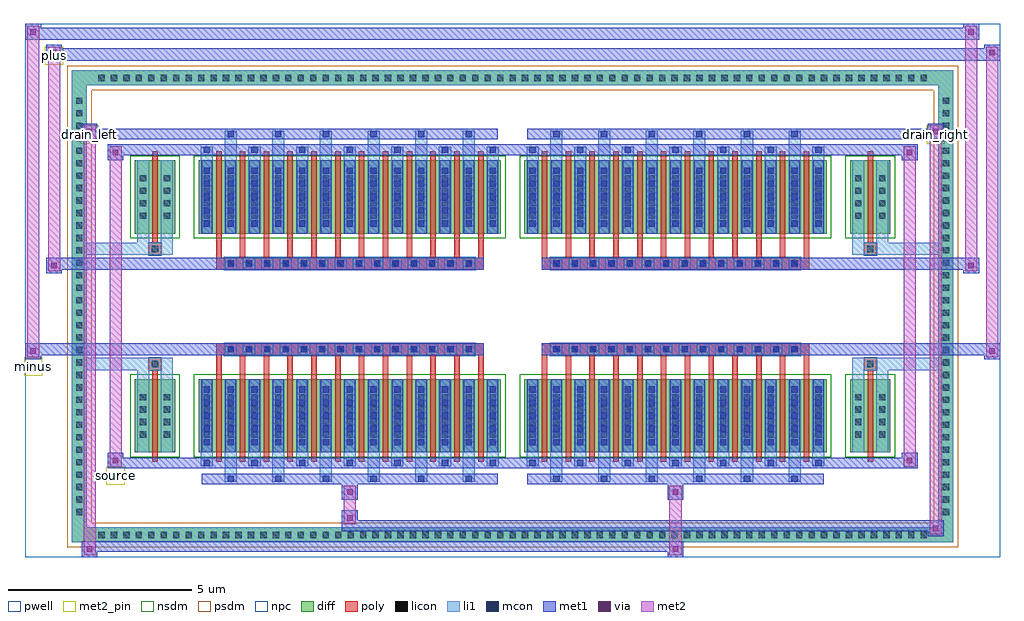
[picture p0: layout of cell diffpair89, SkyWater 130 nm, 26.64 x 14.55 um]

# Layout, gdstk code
import gdstk
lib = gdstk.Library(unit=1e-6, precision=5e-09)
def R(c, l, rs):  # rectangles x0, y0, x1, y1
    for r in rs: c.add(gdstk.rectangle(r[:2], r[2:], *l))
def A(c, l, x, y, w, h, nx, ny, dx, dy):  # array of equal rectangles
    R(c, l, [(x+i*dx, y+j*dy, x+i*dx+w, y+j*dy+h) for i in range(nx) for j in range(ny)])
def P(c, l, *ps):  # polygons
    for p in ps: c.add(gdstk.Polygon(p, *l))
pwell = (64, 44)
diff = (65, 20)
poly = (66, 20)
licon = (66, 44)
li1 = (67, 20)
mcon = (67, 44)
met1 = (68, 20)
via = (68, 44)
met2_pin = (69, 16)
met2 = (69, 20)
nsdm = (93, 44)
psdm = (94, 20)
npc = (95, 20)

diffpair89 = lib.new_cell('diffpair89')
R(diffpair89, pwell, [(-13.3,-6.84,13.3,7.71), (-10.62,-5.03,-0.01,-0.805), (0.01,-5.03,10.62,-0.805), (-10.62,0.805,-0.01,5.03), (0.01,0.805,10.62,5.03)])
A(diffpair89, diff, -11.425, -6.44, 0.41, 0.41, 67, 2, 0.34, 12.47)
A(diffpair89, diff, -12.03, -5.815, 0.41, 0.41, 1, 34, 0, 0.34)
A(diffpair89, diff, 11.62, -5.815, 0.41, 0.41, 1, 34, 0, 0.34)
R(diffpair89, diff, [(-11.425,-6.44,11.425,-6.03), (-12.03,-5.815,-11.62,5.815), (11.62,-5.815,12.03,5.815), (-10.31,-3.985,-9.21,-1.985), (-8.57,-3.985,-0.32,-1.985), (0.32,-3.985,8.57,-1.985), (9.21,-3.985,10.31,-1.985), (-10.31,1.985,-9.21,3.985), (-8.57,1.985,-0.32,3.985), (0.32,1.985,8.57,3.985), (9.21,1.985,10.31,3.985), (-11.425,6.03,11.425,6.44)])
P(diffpair89, diff, [(12.03,6.44),(-12.03,6.44),(-12.03,-6.03),(-11.62,-6.03),(-11.62,6.03),(11.62,6.03),(11.62,-6.03),(-11.62,-6.03),(-12.03,-6.03),(-12.03,-6.44),(12.03,-6.44)])
A(diffpair89, poly, -8.095, -4.235, 0.15, 2.5, 12, 2, 0.65, 5.97)
A(diffpair89, poly, 0.795, -4.235, 0.15, 2.5, 12, 2, 0.65, 5.97)
A(diffpair89, poly, -8.095, -1.735, 0.15, 0.4, 12, 2, 0.65, 3.07)
A(diffpair89, poly, 0.795, -1.735, 0.15, 0.4, 12, 2, 0.65, 3.07)
A(diffpair89, poly, -7.86, -1.335, 0.33, 0.33, 14, 2, 0.5, 2.34)
A(diffpair89, poly, 1.03, -1.335, 0.33, 0.33, 14, 2, 0.5, 2.34)
R(diffpair89, poly, [(-9.835,-4.235,-9.685,-1.735), (9.685,-4.235,9.835,-1.735), (-9.925,-1.735,-9.595,-1.405), (-9.925,-1.735,-9.595,-1.405), (9.595,-1.735,9.925,-1.405), (9.595,-1.735,9.925,-1.405), (-8.095,-1.335,-0.795,-1.005), (0.795,-1.335,8.095,-1.005), (-8.095,1.005,-0.795,1.335), (0.795,1.005,8.095,1.335), (-9.925,1.405,-9.595,1.735), (-9.925,1.405,-9.595,1.735), (9.595,1.405,9.925,1.735), (9.595,1.405,9.925,1.735), (-9.835,1.735,-9.685,4.235), (9.685,1.735,9.835,4.235)])
A(diffpair89, licon, -11.305, -6.32, 0.17, 0.17, 67, 2, 0.34, 12.47)
A(diffpair89, licon, -11.91, -5.695, 0.17, 0.17, 1, 34, 0, 0.34)
A(diffpair89, licon, 11.74, -5.695, 0.17, 0.17, 1, 34, 0, 0.34)
A(diffpair89, licon, -10.17, -3.58, 0.17, 0.17, 1, 4, 0, 0.34)
A(diffpair89, licon, -9.52, -3.58, 0.17, 0.17, 1, 4, 0, 0.34)
A(diffpair89, licon, -8.43, -3.58, 0.17, 0.17, 13, 4, 0.65, 0.34)
A(diffpair89, licon, 0.46, -3.58, 0.17, 0.17, 13, 4, 0.65, 0.34)
A(diffpair89, licon, 9.35, -3.58, 0.17, 0.17, 1, 4, 0, 0.34)
A(diffpair89, licon, 10, -3.58, 0.17, 0.17, 1, 4, 0, 0.34)
A(diffpair89, licon, -7.78, -1.255, 0.17, 0.17, 14, 2, 0.5, 2.34)
A(diffpair89, licon, 1.11, -1.255, 0.17, 0.17, 14, 2, 0.5, 2.34)
A(diffpair89, licon, -10.17, 2.39, 0.17, 0.17, 1, 4, 0, 0.34)
A(diffpair89, licon, -9.52, 2.39, 0.17, 0.17, 1, 4, 0, 0.34)
A(diffpair89, licon, -8.43, 2.39, 0.17, 0.17, 13, 4, 0.65, 0.34)
A(diffpair89, licon, 0.46, 2.39, 0.17, 0.17, 13, 4, 0.65, 0.34)
A(diffpair89, licon, 9.35, 2.39, 0.17, 0.17, 1, 4, 0, 0.34)
A(diffpair89, licon, 10, 2.39, 0.17, 0.17, 1, 4, 0, 0.34)
R(diffpair89, licon, [(-9.845,-1.655,-9.675,-1.485), (9.675,-1.655,9.845,-1.485), (-9.845,1.485,-9.675,1.655), (9.675,1.485,9.845,1.655)])
A(diffpair89, li1, -11.385, -6.4, 0.33, 0.33, 67, 2, 0.34, 12.47)
A(diffpair89, li1, -11.99, -5.775, 0.33, 0.33, 1, 34, 0, 0.34)
A(diffpair89, li1, 11.66, -5.775, 0.33, 0.33, 1, 34, 0, 0.34)
A(diffpair89, li1, -7.86, -4.79, 0.33, 0.805, 6, 2, 1.3, 8.775)
A(diffpair89, li1, -7.78, -4.79, 0.17, 0.17, 6, 2, 1.3, 9.41)
A(diffpair89, li1, 1.03, -4.79, 0.33, 0.805, 6, 2, 1.3, 8.775)
A(diffpair89, li1, 1.11, -4.79, 0.17, 0.17, 6, 2, 1.3, 9.41)
A(diffpair89, li1, -8.51, -4.36, 0.33, 0.375, 7, 2, 1.3, 8.345)
A(diffpair89, li1, -8.43, -4.36, 0.17, 0.17, 7, 2, 1.3, 8.55)
A(diffpair89, li1, 0.38, -4.36, 0.33, 0.375, 7, 2, 1.3, 8.345)
A(diffpair89, li1, 0.46, -4.36, 0.17, 0.17, 7, 2, 1.3, 8.55)
A(diffpair89, li1, -8.51, -3.985, 0.33, 2, 13, 2, 0.65, 5.97)
A(diffpair89, li1, 0.38, -3.985, 0.33, 2, 13, 2, 0.65, 5.97)
A(diffpair89, li1, -8.43, -3.79, 0.17, 0.17, 13, 5, 0.65, 0.36)
A(diffpair89, li1, -8.43, -3.79, 0.17, 1.61, 13, 2, 0.65, 5.97)
A(diffpair89, li1, 0.46, -3.79, 0.17, 0.17, 13, 5, 0.65, 0.36)
A(diffpair89, li1, 0.46, -3.79, 0.17, 1.61, 13, 2, 0.65, 5.97)
A(diffpair89, li1, -10.25, -3.66, 0.33, 0.33, 1, 4, 0, 0.34)
A(diffpair89, li1, -9.6, -3.66, 0.33, 0.33, 1, 4, 0, 0.34)
A(diffpair89, li1, -8.51, -3.66, 0.33, 0.33, 13, 4, 0.65, 0.34)
A(diffpair89, li1, 0.38, -3.66, 0.33, 0.33, 13, 4, 0.65, 0.34)
A(diffpair89, li1, 9.27, -3.66, 0.33, 0.33, 1, 4, 0, 0.34)
A(diffpair89, li1, 9.92, -3.66, 0.33, 0.33, 1, 4, 0, 0.34)
A(diffpair89, li1, -7.86, -1.335, 0.33, 0.33, 14, 2, 0.5, 2.34)
A(diffpair89, li1, 1.03, -1.335, 0.33, 0.33, 14, 2, 0.5, 2.34)
A(diffpair89, li1, -8.43, 2.18, 0.17, 0.17, 13, 5, 0.65, 0.36)
A(diffpair89, li1, 0.46, 2.18, 0.17, 0.17, 13, 5, 0.65, 0.36)
A(diffpair89, li1, -10.25, 2.31, 0.33, 0.33, 1, 4, 0, 0.34)
A(diffpair89, li1, -9.6, 2.31, 0.33, 0.33, 1, 4, 0, 0.34)
A(diffpair89, li1, -8.51, 2.31, 0.33, 0.33, 13, 4, 0.65, 0.34)
A(diffpair89, li1, 0.38, 2.31, 0.33, 0.33, 13, 4, 0.65, 0.34)
A(diffpair89, li1, 9.27, 2.31, 0.33, 0.33, 1, 4, 0, 0.34)
A(diffpair89, li1, 9.92, 2.31, 0.33, 0.33, 1, 4, 0, 0.34)
R(diffpair89, li1, [(-12.03,-6.44,-11.62,-6.03), (-12.03,-6.44,-11.62,-6.03), (-11.62,-6.44,11.62,-6.03), (11.62,-6.44,12.03,-6.03), (11.62,-6.44,12.03,-6.03), (-12.03,-6.03,-11.62,6.03), (11.62,-6.03,12.03,6.03), (-10.25,-3.985,-9.92,-1.985), (-9.6,-3.985,-9.27,-1.985), (9.27,-3.985,9.6,-1.985), (9.92,-3.985,10.25,-1.985), (-10.25,-1.985,-9.92,-1.405), (-9.6,-1.985,-9.27,-1.405), (9.27,-1.985,9.6,-1.405), (9.92,-1.985,10.25,-1.405), (-12.03,-1.735,-9.925,-1.405), (-10.25,-1.735,-9.925,-1.405), (-9.925,-1.735,-9.595,-1.405), (-9.595,-1.735,-9.27,-1.405), (9.27,-1.735,9.595,-1.405), (9.595,-1.735,9.925,-1.405), (9.595,-1.735,12.03,-1.405), (9.925,-1.735,10.25,-1.405), (-12.03,1.405,-9.925,1.735), (-10.25,1.405,-9.925,1.735), (-10.25,1.405,-9.92,1.985), (-9.925,1.405,-9.595,1.735), (-9.6,1.405,-9.27,1.985), (-9.595,1.405,-9.27,1.735), (9.27,1.405,9.595,1.735), (9.27,1.405,9.6,1.985), (9.595,1.405,9.925,1.735), (9.595,1.405,12.03,1.735), (9.92,1.405,10.25,1.985), (9.925,1.405,10.25,1.735), (-10.25,1.985,-9.92,3.985), (-9.6,1.985,-9.27,3.985), (9.27,1.985,9.6,3.985), (9.92,1.985,10.25,3.985), (-12.03,6.03,-11.62,6.44), (-12.03,6.03,-11.62,6.44), (-11.62,6.03,11.62,6.44), (11.62,6.03,12.03,6.44), (11.62,6.03,12.03,6.44)])
A(diffpair89, mcon, -7.78, -4.79, 0.17, 0.17, 6, 2, 1.3, 9.41)
A(diffpair89, mcon, 1.11, -4.79, 0.17, 0.17, 6, 2, 1.3, 9.41)
A(diffpair89, mcon, -8.43, -4.36, 0.17, 0.17, 7, 2, 1.3, 8.55)
A(diffpair89, mcon, 0.46, -4.36, 0.17, 0.17, 7, 2, 1.3, 8.55)
A(diffpair89, mcon, -8.43, -3.79, 0.17, 0.17, 13, 5, 0.65, 0.36)
A(diffpair89, mcon, 0.46, -3.79, 0.17, 0.17, 13, 5, 0.65, 0.36)
A(diffpair89, mcon, -7.78, -1.255, 0.17, 0.17, 14, 2, 0.5, 2.34)
A(diffpair89, mcon, 1.11, -1.255, 0.17, 0.17, 14, 2, 0.5, 2.34)
A(diffpair89, mcon, -8.43, 2.18, 0.17, 0.17, 13, 5, 0.65, 0.36)
A(diffpair89, mcon, 0.46, 2.18, 0.17, 0.17, 13, 5, 0.65, 0.36)
A(diffpair89, met1, -7.84, -4.85, 0.29, 0.29, 6, 2, 1.3, 9.41)
A(diffpair89, met1, 1.05, -4.85, 0.29, 0.29, 6, 2, 1.3, 9.41)
A(diffpair89, met1, -8.49, -4.42, 0.29, 0.29, 7, 2, 1.3, 8.55)
A(diffpair89, met1, 0.4, -4.42, 0.29, 0.29, 7, 2, 1.3, 8.55)
A(diffpair89, met1, -8.49, -3.985, 0.29, 2, 13, 2, 0.65, 5.97)
A(diffpair89, met1, 0.4, -3.985, 0.29, 2, 13, 2, 0.65, 5.97)
A(diffpair89, met1, -8.49, -3.85, 0.29, 0.29, 13, 5, 0.65, 0.36)
A(diffpair89, met1, 0.4, -3.85, 0.29, 0.29, 13, 5, 0.65, 0.36)
A(diffpair89, met1, -7.84, -1.315, 0.29, 0.29, 14, 2, 0.5, 2.34)
A(diffpair89, met1, 1.05, -1.315, 0.29, 0.29, 14, 2, 0.5, 2.34)
A(diffpair89, met1, -8.49, 2.12, 0.29, 0.29, 13, 5, 0.65, 0.36)
A(diffpair89, met1, 0.4, 2.12, 0.29, 0.29, 13, 5, 0.65, 0.36)
R(diffpair89, met1, [(-11.76,-6.84,-11.33,-6.41), (4.23,-6.84,4.66,-6.41), (-11.76,-6.7,4.66,-6.41), (11.33,-6.27,11.76,-5.84), (-4.66,-6.13,11.76,-5.84), (-4.66,-5.99,-4.23,-5.56), (-4.66,-5.28,-4.23,-4.85), (4.23,-5.28,4.66,-4.85), (-8.49,-4.85,-0.4,-4.56), (0.4,-4.85,8.49,-4.56), (-11.05,-4.42,-10.62,-3.99), (-11.05,-4.42,-8.49,-4.13), (-8.49,-4.42,-0.4,-4.13), (-0.4,-4.42,0.4,-4.13), (0.4,-4.42,8.49,-4.13), (8.49,-4.42,11.05,-4.13), (10.62,-4.42,11.05,-3.99), (-13.3,-1.435,-12.87,-1.005), (12.87,-1.435,13.3,-1.005), (-13.3,-1.335,-0.795,-1.005), (-8.095,-1.335,-0.795,-1.005), (0.795,-1.335,8.095,-1.005), (0.795,-1.335,13.3,-1.005), (-12.73,0.905,-12.3,1.335), (12.3,0.905,12.73,1.335), (-12.73,1.005,-8.095,1.335), (-8.095,1.005,-0.795,1.335), (0.795,1.005,8.095,1.335), (8.095,1.005,12.73,1.335), (-11.05,3.99,-10.62,4.42), (10.62,3.99,11.05,4.42), (-11.05,4.13,-8.49,4.42), (-8.49,4.13,-0.4,4.42), (-0.4,4.13,0.4,4.42), (0.4,4.13,8.49,4.42), (8.49,4.13,11.05,4.42), (-11.76,4.56,-11.33,4.99), (-11.76,4.56,-8.49,4.85), (-8.49,4.56,-0.4,4.85), (0.4,4.56,8.49,4.85), (8.49,4.56,11.76,4.85), (11.33,4.56,11.76,4.99), (-12.73,6.71,-12.3,7.14), (-12.73,6.71,-10.62,7.04), (-10.62,6.71,10.62,7.04), (10.62,6.71,13.3,7.04), (12.87,6.71,13.3,7.14), (-13.3,7.28,-12.87,7.71), (-13.3,7.28,-10.62,7.61), (-10.62,7.28,10.62,7.61), (10.62,7.28,12.73,7.61), (12.3,7.28,12.73,7.71)])
R(diffpair89, via, [(-11.62,-6.7,-11.47,-6.55), (4.37,-6.7,4.52,-6.55), (11.47,-6.13,11.62,-5.98), (-4.52,-5.85,-4.37,-5.7), (-4.52,-5.14,-4.37,-4.99), (4.37,-5.14,4.52,-4.99), (-10.91,-4.28,-10.76,-4.13), (10.76,-4.28,10.91,-4.13), (-13.16,-1.295,-13.01,-1.145), (13.01,-1.295,13.16,-1.145), (-12.59,1.045,-12.44,1.195), (12.44,1.045,12.59,1.195), (-10.91,4.13,-10.76,4.28), (10.76,4.13,10.91,4.28), (-11.62,4.7,-11.47,4.85), (11.47,4.7,11.62,4.85), (-12.59,6.85,-12.44,7), (13.01,6.85,13.16,7), (-13.16,7.42,-13.01,7.57), (12.44,7.42,12.59,7.57)])
R(diffpair89, met2_pin, [(-11.085,-4.87,-10.585,-4.37), (-13.335,-1.885,-12.835,-1.385), (-11.795,4.44,-11.295,4.94), (11.295,4.44,11.795,4.94), (-12.765,6.59,-12.265,7.09)])
R(diffpair89, met2, [(-11.71,-6.79,-11.38,-6.46), (-11.71,-6.79,-11.38,4.94), (4.28,-6.79,4.61,-6.46), (4.28,-6.46,4.61,-5.23), (11.38,-6.22,11.71,-5.89), (11.38,-6.22,11.71,4.94), (-4.61,-5.94,-4.28,-5.61), (-4.61,-5.61,-4.28,-5.23), (-4.61,-5.23,-4.28,-4.9), (4.28,-5.23,4.61,-4.9), (-11,-4.37,-10.67,-4.04), (-11,-4.37,-10.67,4.37), (10.67,-4.37,11,-4.04), (10.67,-4.37,11,4.37), (-13.25,-1.385,-12.92,-1.055), (-13.25,-1.385,-12.92,7.66), (12.92,-1.385,13.25,-1.055), (12.92,-1.385,13.25,7.09), (-12.68,0.955,-12.35,1.285), (-12.68,0.955,-12.35,7.09), (12.35,0.955,12.68,1.285), (12.35,0.955,12.68,7.66), (-11,4.04,-10.67,4.37), (10.67,4.04,11,4.37), (-11.71,4.61,-11.38,4.94), (11.38,4.61,11.71,4.94), (-12.68,6.76,-12.35,7.09), (12.92,6.76,13.25,7.09), (-13.25,7.33,-12.92,7.66), (12.35,7.33,12.68,7.66)])
P(diffpair89, met2, [(13.25,-1.385),(13.25,-1.385),(13.25,-1.055),(13.25,-1.055)],
  [(13.25,6.76),(13.25,6.76),(13.25,7.09),(13.25,7.09)],
  [(-12.92,-1.385),(-12.92,-1.385),(-12.92,-1.055),(-12.92,-1.055)],
  [(-12.92,7.33),(-12.92,7.33),(-12.92,7.66),(-12.92,7.66)],
  [(12.68,0.955),(12.68,0.955),(12.68,1.285),(12.68,1.285)],
  [(12.68,7.33),(12.68,7.33),(12.68,7.66),(12.68,7.66)],
  [(-12.35,0.955),(-12.35,0.955),(-12.35,1.285),(-12.35,1.285)],
  [(-12.35,6.76),(-12.35,6.76),(-12.35,7.09),(-12.35,7.09)],
  [(-11.38,-6.79),(-11.38,-6.79),(-11.38,-6.46),(-11.38,-6.46)],
  [(-11.38,4.61),(-11.38,4.61),(-11.38,4.94),(-11.38,4.94)],
  [(11.71,-6.22),(11.71,-6.22),(11.71,-5.89),(11.71,-5.89)],
  [(11.71,4.61),(11.71,4.61),(11.71,4.94),(11.71,4.94)],
  [(-10.67,-4.37),(-10.67,-4.37),(-10.67,-4.04),(-10.67,-4.04)],
  [(-10.67,4.04),(-10.67,4.04),(-10.67,4.37),(-10.67,4.37)],
  [(11,-4.37),(11,-4.37),(11,-4.04),(11,-4.04)],
  [(11,4.04),(11,4.04),(11,4.37),(11,4.37)])
R(diffpair89, nsdm, [(-10.44,-4.115,-9.08,-1.855), (-8.7,-4.115,-0.19,-1.855), (0.19,-4.115,8.7,-1.855), (9.08,-4.115,10.44,-1.855), (-10.44,1.855,-9.08,4.115), (-8.7,1.855,-0.19,4.115), (0.19,1.855,8.7,4.115), (9.08,1.855,10.44,4.115)])
P(diffpair89, psdm, [(12.16,6.57),(-12.16,6.57),(-12.16,-5.9),(-11.49,-5.9),(-11.49,5.9),(11.49,5.9),(11.49,-5.9),(-11.49,-5.9),(-12.16,-5.9),(-12.16,-6.57),(12.16,-6.57)])
A(diffpair89, npc, -7.88, -1.355, 0.37, 0.37, 14, 2, 0.5, 2.34)
A(diffpair89, npc, 1.01, -1.355, 0.37, 0.37, 14, 2, 0.5, 2.34)
R(diffpair89, npc, [(-9.945,-1.755,-9.575,-1.385), (9.575,-1.755,9.945,-1.385), (-7.88,-1.355,-7.01,-0.985), (-7.88,-1.355,-7.01,-0.985), (-7.38,-1.355,-6.51,-0.985), (-7.38,-1.355,-6.51,-0.985), (-6.88,-1.355,-6.01,-0.985), (-6.88,-1.355,-6.01,-0.985), (-6.38,-1.355,-5.51,-0.985), (-6.38,-1.355,-5.51,-0.985), (-5.88,-1.355,-5.01,-0.985), (-5.88,-1.355,-5.01,-0.985), (-5.38,-1.355,-4.51,-0.985), (-5.38,-1.355,-4.51,-0.985), (-4.88,-1.355,-4.01,-0.985), (-4.88,-1.355,-4.01,-0.985), (-4.38,-1.355,-3.51,-0.985), (-4.38,-1.355,-3.51,-0.985), (-3.88,-1.355,-3.01,-0.985), (-3.88,-1.355,-3.01,-0.985), (-3.38,-1.355,-2.51,-0.985), (-3.38,-1.355,-2.51,-0.985), (-2.88,-1.355,-2.01,-0.985), (-2.88,-1.355,-2.01,-0.985), (-2.38,-1.355,-1.51,-0.985), (-2.38,-1.355,-1.51,-0.985), (-1.88,-1.355,-1.01,-0.985), (-1.88,-1.355,-1.01,-0.985), (1.01,-1.355,1.88,-0.985), (1.01,-1.355,1.88,-0.985), (1.51,-1.355,2.38,-0.985), (1.51,-1.355,2.38,-0.985), (2.01,-1.355,2.88,-0.985), (2.01,-1.355,2.88,-0.985), (2.51,-1.355,3.38,-0.985), (2.51,-1.355,3.38,-0.985), (3.01,-1.355,3.88,-0.985), (3.01,-1.355,3.88,-0.985), (3.51,-1.355,4.38,-0.985), (3.51,-1.355,4.38,-0.985), (4.01,-1.355,4.88,-0.985), (4.01,-1.355,4.88,-0.985), (4.51,-1.355,5.38,-0.985), (4.51,-1.355,5.38,-0.985), (5.01,-1.355,5.88,-0.985), (5.01,-1.355,5.88,-0.985), (5.51,-1.355,6.38,-0.985), (5.51,-1.355,6.38,-0.985), (6.01,-1.355,6.88,-0.985), (6.01,-1.355,6.88,-0.985), (6.51,-1.355,7.38,-0.985), (6.51,-1.355,7.38,-0.985), (7.01,-1.355,7.88,-0.985), (7.01,-1.355,7.88,-0.985), (-7.88,0.985,-7.01,1.355), (-7.88,0.985,-7.01,1.355), (-7.38,0.985,-6.51,1.355), (-7.38,0.985,-6.51,1.355), (-6.88,0.985,-6.01,1.355), (-6.88,0.985,-6.01,1.355), (-6.38,0.985,-5.51,1.355), (-6.38,0.985,-5.51,1.355), (-5.88,0.985,-5.01,1.355), (-5.88,0.985,-5.01,1.355), (-5.38,0.985,-4.51,1.355), (-5.38,0.985,-4.51,1.355), (-4.88,0.985,-4.01,1.355), (-4.88,0.985,-4.01,1.355), (-4.38,0.985,-3.51,1.355), (-4.38,0.985,-3.51,1.355), (-3.88,0.985,-3.01,1.355), (-3.88,0.985,-3.01,1.355), (-3.38,0.985,-2.51,1.355), (-3.38,0.985,-2.51,1.355), (-2.88,0.985,-2.01,1.355), (-2.88,0.985,-2.01,1.355), (-2.38,0.985,-1.51,1.355), (-2.38,0.985,-1.51,1.355), (-1.88,0.985,-1.01,1.355), (-1.88,0.985,-1.01,1.355), (1.01,0.985,1.88,1.355), (1.01,0.985,1.88,1.355), (1.51,0.985,2.38,1.355), (1.51,0.985,2.38,1.355), (2.01,0.985,2.88,1.355), (2.01,0.985,2.88,1.355), (2.51,0.985,3.38,1.355), (2.51,0.985,3.38,1.355), (3.01,0.985,3.88,1.355), (3.01,0.985,3.88,1.355), (3.51,0.985,4.38,1.355), (3.51,0.985,4.38,1.355), (4.01,0.985,4.88,1.355), (4.01,0.985,4.88,1.355), (4.51,0.985,5.38,1.355), (4.51,0.985,5.38,1.355), (5.01,0.985,5.88,1.355), (5.01,0.985,5.88,1.355), (5.51,0.985,6.38,1.355), (5.51,0.985,6.38,1.355), (6.01,0.985,6.88,1.355), (6.01,0.985,6.88,1.355), (6.51,0.985,7.38,1.355), (6.51,0.985,7.38,1.355), (7.01,0.985,7.88,1.355), (7.01,0.985,7.88,1.355), (-9.945,1.385,-9.575,1.755), (9.575,1.385,9.945,1.755)])
diffpair89.add(gdstk.Label('minus', (-13.085,-1.635), layer=69, texttype=5))
diffpair89.add(gdstk.Label('drain_right', (11.545,4.69), layer=69, texttype=5))
diffpair89.add(gdstk.Label('drain_left', (-11.545,4.69), layer=69, texttype=5))
diffpair89.add(gdstk.Label('source', (-10.835,-4.62), layer=69, texttype=5))
diffpair89.add(gdstk.Label('plus', (-12.515,6.84), layer=69, texttype=5))

lib.write_gds('diffpair89.gds')
